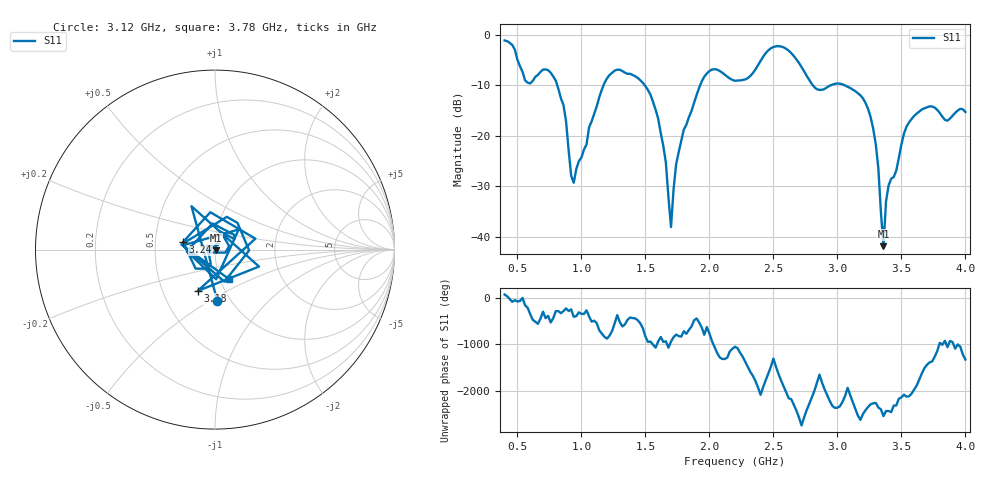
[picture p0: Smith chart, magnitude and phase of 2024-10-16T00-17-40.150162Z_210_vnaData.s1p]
! Created with skrf (http://scikit-rf.org).
# Hz S RI R 50.0
!freq ReS11 ImS11
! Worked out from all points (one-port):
!   181 points, 400 MHz to 4 GHz, reference 50 ohm
!   lowest |S11| = -41.9 dB at 3.36 GHz (marker M1), VSWR 1.02, Z = 50.7 - j0.422 ohm
!   |S11| at or under -10 dB: 810.6 MHz to 1.174 GHz (363.1 MHz wide, 36.6 % of centre); 1.493 GHz to 1.929 GHz (435.2 MHz wide, 25.4 % of centre); 3.052 GHz to end of sweep (the widest 3 of 4)
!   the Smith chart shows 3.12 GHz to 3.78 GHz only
!   S11 on the Smith chart (normalised r, x): 3.12 GHz: 0.87, -0.54; 3.18 GHz: 0.75, -0.37; 3.24 GHz: 0.69, +0.06; 3.78 GHz: 1.10, -0.37
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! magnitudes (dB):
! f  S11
! 400 MHz  -1.2
! 580 MHz  -9.5
! 760 MHz  -7.6
! 860 MHz  -14.0
! 940 MHz  -29.3
! 1.18 GHz  -9.6
! 1.3 GHz  -7.0
! 1.58 GHz  -14.9
! 1.66 GHz  -25.4
! 1.7 GHz  -38.1
! 1.74 GHz  -25.7
! 1.76 GHz  -23.3
! 1.96 GHz  -8.3
! 2.2 GHz  -9.2
! 2.5 GHz  -2.5
! 2.66 GHz  -4.3
! 2.84 GHz  -10.8
! 3.1 GHz  -10.6
! 3.12 GHz  -10.9
! 3.18 GHz  -12.0
! 3.24 GHz  -14.7
! 3.3 GHz  -21.7
! 3.36 GHz  -41.9
! 3.38 GHz  -33.0
! 3.4 GHz  -29.9
! 3.56 GHz  -17.4
! 3.78 GHz  -14.9
! 4 GHz  -15.3
